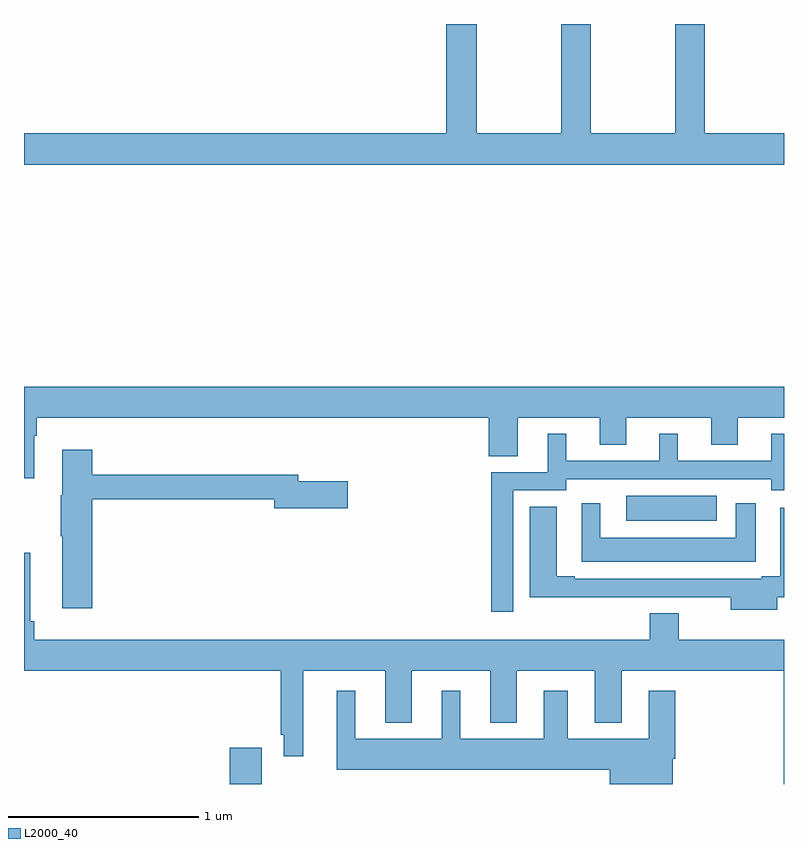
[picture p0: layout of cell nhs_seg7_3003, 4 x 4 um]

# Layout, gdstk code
import gdstk
lib = gdstk.Library(unit=1e-6, precision=1e-09)
def R(c, l, rs):  # rectangles x0, y0, x1, y1
    for r in rs: c.add(gdstk.rectangle(r[:2], r[2:], *l))
def P(c, l, *ps):  # polygons
    for p in ps: c.add(gdstk.Polygon(p, *l))
L2000_40 = (2000, 40)

nhs_seg7_3003 = lib.new_cell('nhs_seg7_3003')
R(nhs_seg7_3003, L2000_40, [(304.082,1020,304.252,1020.19), (306.171,1021.385,306.646,1021.516)])
P(nhs_seg7_3003, L2000_40, [(307,1023.424),(306.582,1023.424),(306.582,1024),(306.427,1024),(306.427,1023.424),(305.982,1023.424),(305.982,1024),(305.827,1024),(305.827,1023.424),(305.382,1023.424),(305.382,1024),(305.222,1024),(305.222,1023.424),(303,1023.424),(303,1023.26),(307,1023.26)],
  [(303.055,1021.832),(303.068,1021.832),(303.068,1021.928),(305.447,1021.928),(305.447,1021.726),(305.599,1021.726),(305.599,1021.928),(306.029,1021.928),(306.029,1021.786),(306.169,1021.786),(306.169,1021.928),(306.617,1021.928),(306.617,1021.786),(306.757,1021.786),(306.757,1021.928),(307,1021.928),(307,1022.092),(303,1022.092),(303,1021.608),(303.055,1021.608)],
  [(305.574,1021.545),(305.853,1021.545),(305.853,1021.605),(306.933,1021.605),(306.933,1021.545),(307,1021.545),(307,1021.843),(306.932,1021.843),(306.932,1021.701),(306.442,1021.701),(306.442,1021.843),(306.344,1021.843),(306.344,1021.701),(305.854,1021.701),(305.854,1021.843),(305.756,1021.843),(305.756,1021.641),(305.458,1021.641),(305.458,1020.906),(305.574,1020.906)],
  [(303.359,1021.498),(304.316,1021.498),(304.316,1021.451),(304.705,1021.451),(304.705,1021.593),(304.444,1021.593),(304.444,1021.627),(303.359,1021.627),(303.359,1021.759),(303.2,1021.759),(303.2,1021.521),(303.193,1021.521),(303.193,1021.303),(303.2,1021.303),(303.2,1020.924),(303.359,1020.924)],
  [(306.85,1021.477),(306.746,1021.477),(306.746,1021.297),(306.034,1021.297),(306.034,1021.477),(305.936,1021.477),(305.936,1021.169),(306.85,1021.169)],
  [(306.964,1020.982),(307,1020.982),(307,1021.453),(306.98,1021.453),(306.98,1021.093),(306.884,1021.093),(306.884,1021.08),(305.899,1021.08),(305.899,1021.093),(305.803,1021.093),(305.803,1021.459),(305.663,1021.459),(305.663,1020.982),(306.209,1020.982),(306.209,1020.984),(306.719,1020.984),(306.719,1020.917),(306.964,1020.917)],
  [(307,1020.76),(306.445,1020.76),(306.445,1020.899),(306.293,1020.899),(306.293,1020.76),(303.053,1020.76),(303.053,1020.856),(303.034,1020.856),(303.034,1021.216),(303,1021.216),(303,1020.596),(304.35,1020.596),(304.35,1020.259),(304.367,1020.259),(304.367,1020.147),(304.471,1020.147),(304.471,1020.596),(304.901,1020.596),(304.901,1020.323),(305.041,1020.323),(305.041,1020.596),(305.453,1020.596),(305.453,1020.323),(305.593,1020.323),(305.593,1020.596),(306.005,1020.596),(306.005,1020.323),(306.145,1020.323),(306.145,1020.596),(306.998,1020.596),(306.998,1020),(307,1020)],
  [(306.415,1020.134),(306.428,1020.134),(306.428,1020.49),(306.287,1020.49),(306.287,1020.238),(305.863,1020.238),(305.863,1020.49),(305.735,1020.49),(305.735,1020.238),(305.296,1020.238),(305.296,1020.49),(305.198,1020.49),(305.198,1020.238),(304.744,1020.238),(304.744,1020.49),(304.646,1020.49),(304.646,1020.074),(306.083,1020.074),(306.083,1020),(306.415,1020)])

lib.write_gds('nhs_seg7_3003.gds')
